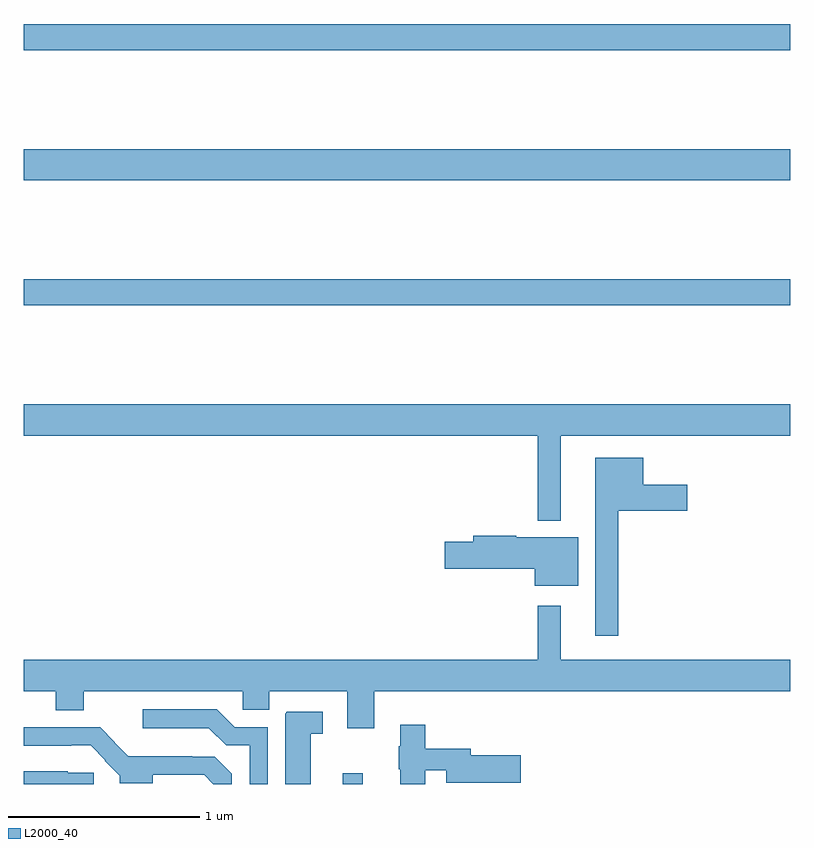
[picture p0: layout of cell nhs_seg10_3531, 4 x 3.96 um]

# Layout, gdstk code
import gdstk
lib = gdstk.Library(unit=1e-6, precision=1e-09)
def R(c, l, rs):  # rectangles x0, y0, x1, y1
    for r in rs: c.add(gdstk.rectangle(r[:2], r[2:], *l))
def P(c, l, *ps):  # polygons
    for p in ps: c.add(gdstk.Polygon(p, *l))
L2000_40 = (2000, 40)

nhs_seg10_3531 = lib.new_cell('nhs_seg10_3531')
R(nhs_seg10_3531, L2000_40, [(304.664,1298.5,304.768,1298.557), (303,1300.996,307,1301.132), (303,1301.648,307,1301.812), (303,1302.328,307,1302.464)])
P(nhs_seg10_3531, L2000_40, [(305.803,1300.316),(307,1300.316),(307,1300.48),(303,1300.48),(303,1300.316),(305.682,1300.316),(305.682,1299.979),(305.683,1299.979),(305.683,1299.872),(305.803,1299.872)],
  [(306.103,1299.926),(306.463,1299.926),(306.463,1300.06),(306.232,1300.06),(306.232,1300.201),(305.981,1300.201),(305.981,1299.273),(306.103,1299.273)],
  [(305.893,1299.787),(305.57,1299.787),(305.57,1299.794),(305.345,1299.794),(305.345,1299.764),(305.196,1299.764),(305.196,1299.622),(305.666,1299.622),(305.666,1299.533),(305.893,1299.533)],
  [(304.828,1298.984),(307,1298.984),(307,1299.148),(305.803,1299.148),(305.803,1299.43),(305.682,1299.43),(305.682,1299.148),(303,1299.148),(303,1298.984),(303.167,1298.984),(303.167,1298.885),(303.315,1298.885),(303.315,1298.984),(304.143,1298.984),(304.143,1298.886),(304.282,1298.886),(304.282,1298.984),(304.688,1298.984),(304.688,1298.79),(304.828,1298.79)],
  [(304.275,1298.796),(304.101,1298.796),(304.008,1298.889),(303.621,1298.889),(303.621,1298.792),(303.967,1298.792),(304.058,1298.701),(304.179,1298.701),(304.179,1298.5),(304.275,1298.5)],
  [(304.498,1298.761),(304.561,1298.761),(304.561,1298.877),(304.374,1298.877),(304.364,1298.867),(304.364,1298.5),(304.498,1298.5)],
  [(305.096,1298.573),(305.204,1298.573),(305.204,1298.507),(305.593,1298.507),(305.593,1298.649),(305.332,1298.649),(305.332,1298.683),(305.096,1298.683),(305.096,1298.809),(304.964,1298.809),(304.964,1298.696),(304.957,1298.696),(304.957,1298.577),(304.964,1298.577),(304.964,1298.5),(305.096,1298.5)],
  [(304.086,1298.553),(303.997,1298.642),(303.881,1298.642),(303.881,1298.644),(303.547,1298.644),(303.473,1298.717),(303.475,1298.719),(303.399,1298.796),(303,1298.796),(303,1298.699),(303.248,1298.699),(303.248,1298.702),(303.35,1298.702),(303.426,1298.625),(303.423,1298.622),(303.502,1298.544),(303.502,1298.504),(303.673,1298.504),(303.673,1298.547),(303.942,1298.547),(303.989,1298.5),(304.086,1298.5)],
  [(303.366,1298.559),(303.231,1298.559),(303.231,1298.566),(303,1298.566),(303,1298.5),(303.366,1298.5)])

lib.write_gds('nhs_seg10_3531.gds')
